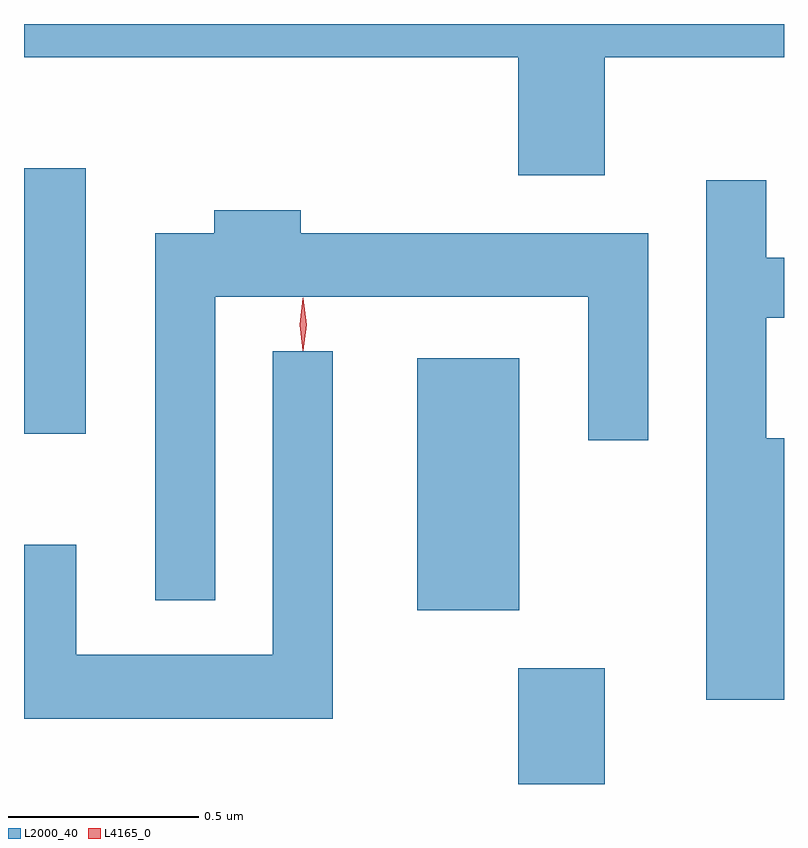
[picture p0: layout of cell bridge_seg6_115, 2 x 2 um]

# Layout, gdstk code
import gdstk
lib = gdstk.Library(unit=1e-6, precision=1e-09)
def R(c, l, rs):  # rectangles x0, y0, x1, y1
    for r in rs: c.add(gdstk.rectangle(r[:2], r[2:], *l))
def P(c, l, *ps):  # polygons
    for p in ps: c.add(gdstk.Polygon(p, *l))
L2000_40 = (2000, 40)
L4165_0 = (4165, 0)

bridge_seg6_115 = lib.new_cell('bridge_seg6_115')
R(bridge_seg6_115, L2000_40, [(1092.791,1608.064,1093.019,1608.369), (1092.526,1608.521,1092.794,1609.184), (1091.491,1608.986,1091.654,1609.684)])
P(bridge_seg6_115, L2000_40, [(1091.491,1609.976),(1092.791,1609.976),(1092.791,1609.666),(1093.019,1609.666),(1093.019,1609.976),(1093.491,1609.976),(1093.491,1610.064),(1091.491,1610.064)],
  [(1093.491,1608.974),(1093.444,1608.974),(1093.444,1609.291),(1093.491,1609.291),(1093.491,1609.449),(1093.444,1609.449),(1093.444,1609.653),(1093.286,1609.653),(1093.286,1608.286),(1093.491,1608.286)],
  [(1091.994,1609.346),(1092.976,1609.346),(1092.976,1608.968),(1093.134,1608.968),(1093.134,1609.514),(1092.219,1609.514),(1092.219,1609.574),(1091.991,1609.574),(1091.991,1609.514),(1091.836,1609.514),(1091.836,1608.548),(1091.994,1608.548)],
  [(1092.304,1609.203),(1092.146,1609.203),(1092.146,1608.404),(1091.629,1608.404),(1091.629,1608.694),(1091.491,1608.694),(1091.491,1608.236),(1092.304,1608.236)])
P(bridge_seg6_115, L4165_0, [(1092.224,1609.204),(1092.216,1609.273),(1092.225,1609.342),(1092.226,1609.343),(1092.226,1609.342),(1092.235,1609.273),(1092.226,1609.204),(1092.225,1609.204)])

lib.write_gds('bridge_seg6_115.gds')
